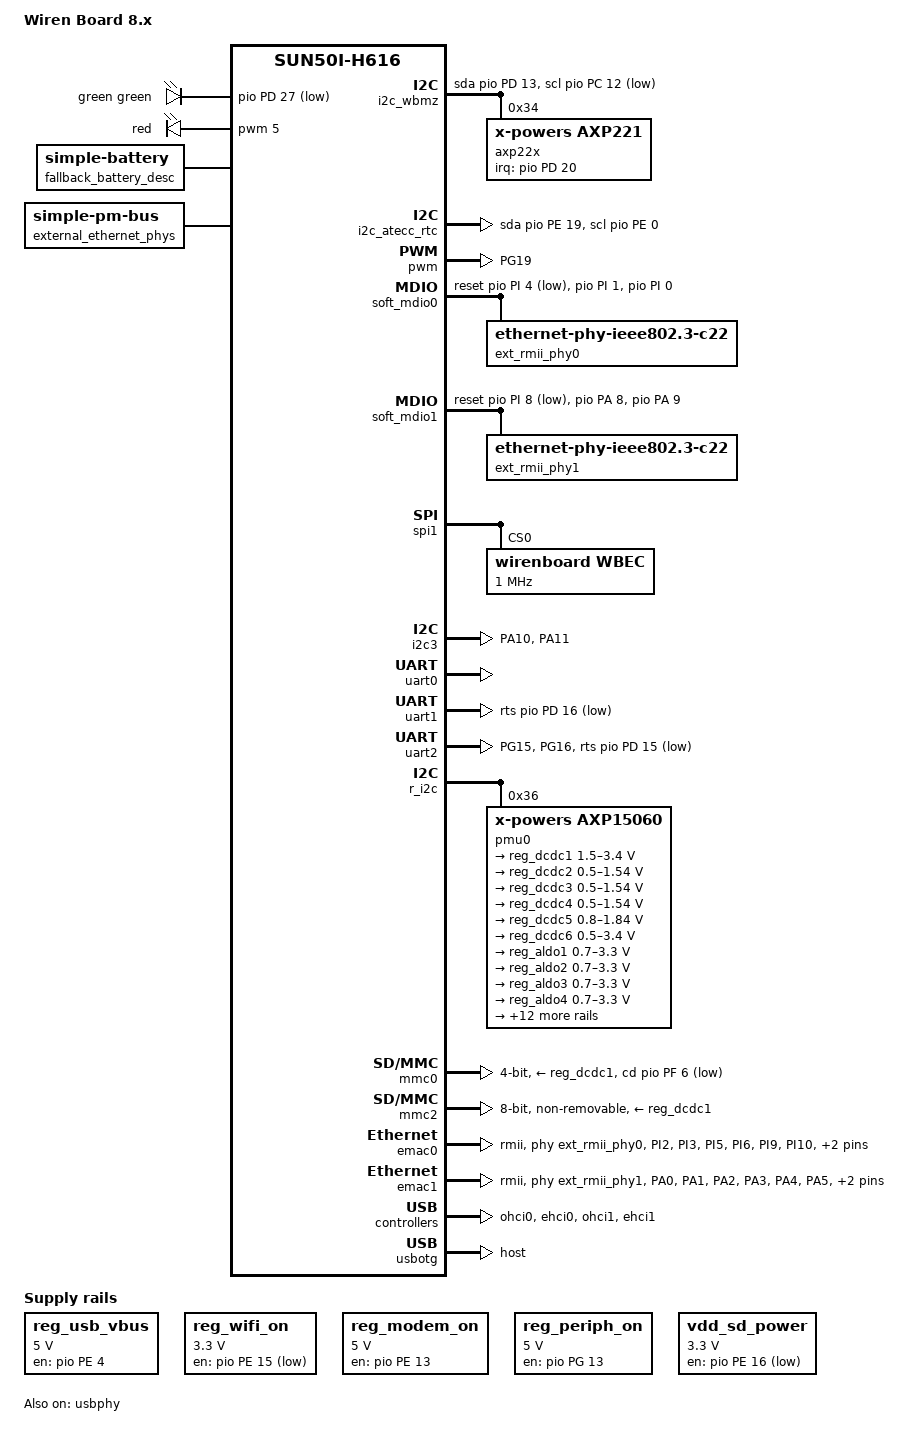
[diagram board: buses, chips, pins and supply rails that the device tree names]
// SPDX-License-Identifier: (GPL-2.0+ OR MIT)
// vim: autoindent noexpandtab tabstop=4 shiftwidth=4
/*
 * Copyright (C) 2023 Wiren Board
 */

/dts-v1/;

#include "sun50i-h616.dtsi"

#include <dt-bindings/gpio/gpio.h>
#include <dt-bindings/interrupt-controller/arm-gic.h>
#include <dt-bindings/leds/common.h>

#define PA 0
#define PB 1
#define PC 2
#define PD 3
#define PE 4
#define PF 5
#define PG 6
#define PH 7
#define PI 8

/ {
	model = "Wiren Board 8.x";
	compatible = "wirenboard,wirenboard-8xx", "allwinner,sun50i-h616";

	aliases {
		serial0 = &uart0;
		serial1 = &uart1;
		serial2 = &uart2;
		serial4 = &uart4;
		serial5 = &uart5;
		mmc0 = &mmc2;
		mmc1 = &mmc0;
		mdio-gpio0 = &soft_mdio0;
		mdio-gpio1 = &soft_mdio1;
		ethernet0 = &emac0;
		ethernet1 = &emac1;
	};

	wirenboard {
		adc-type = <3>;
		pwm-buzzer = <1>;

		analog-inputs {
		};

		gpios {
			A1_OUT {
				io-gpios = <&pio PE 5 GPIO_ACTIVE_HIGH>;
				gpio-xlate-type = "bank_pin";
				gpio-pins-per-bank = <32>;
				output-low;
				sort-order = <0>;
			};

			A2_OUT {
				io-gpios = <&pio PD 23 GPIO_ACTIVE_HIGH>;
				gpio-xlate-type = "bank_pin";
				gpio-pins-per-bank = <32>;
				output-low;
				sort-order = <1>;
			};

			A3_OUT {
				io-gpios = <&pio PG 9 GPIO_ACTIVE_HIGH>;
				gpio-xlate-type = "bank_pin";
				gpio-pins-per-bank = <32>;
				output-low;
				sort-order = <2>;
			};

			A4_OUT {
				io-gpios = <&pio PG 11 GPIO_ACTIVE_HIGH>;
				gpio-xlate-type = "bank_pin";
				gpio-pins-per-bank = <32>;
				output-low;
				sort-order = <3>;
			};

			A1_IN {
				io-gpios = <&pio PH 9 GPIO_ACTIVE_LOW>;
				gpio-xlate-type = "bank_pin";
				gpio-pins-per-bank = <32>;
				input;
				sort-order = <4>;
			};

			A2_IN {
				io-gpios = <&pio PH 4 GPIO_ACTIVE_LOW>;
				gpio-xlate-type = "bank_pin";
				gpio-pins-per-bank = <32>;
				input;
				sort-order = <5>;
			};

			A3_IN {
				io-gpios = <&pio PD 25 GPIO_ACTIVE_LOW>;
				gpio-xlate-type = "bank_pin";
				gpio-pins-per-bank = <32>;
				input;
				sort-order = <6>;
			};

			A4_IN {
				io-gpios = <&pio PD 20 GPIO_ACTIVE_LOW>;
				gpio-xlate-type = "bank_pin";
				gpio-pins-per-bank = <32>;
				input;
				sort-order = <7>;
			};

			5V_OUT {
				io-gpios = <&pio PE 9 GPIO_ACTIVE_HIGH>;
				gpio-xlate-type = "bank_pin";
				gpio-pins-per-bank = <32>;
				output-high;
				sort-order = <8>;
			};

			V_OUT {
				io-gpios = <&wbec_gpio 4 GPIO_ACTIVE_HIGH>;
				output-high;
				sort-order = <9>;
			};
		};

		hwmon-nodes {
			cputemp {
				title = "CPU Temperature";
				hwmon-node-name = "cpu0_thermal";
				hwmon-channel = "temp1";
			};

			pcbtemp {
				title = "Board Temperature";
				hwmon-node-name = "iio-hwmon-pcb-temp";
				hwmon-channel = "temp1";
			};
		};
	};

	leds-gpio {
		compatible = "gpio-leds";

		green {
			label = "green";
			color = <LED_COLOR_ID_GREEN>;
			gpios = <&pio PD 27 GPIO_ACTIVE_LOW>;
			default-state = "on";
			active-low;
			linux,default-trigger = "default-off";
		};
	};

	leds-pwm {
		compatible = "pwm-leds";

		pinctrl-names = "default";
		pinctrl-0 = <&pwm_ch5_pa_pins>;

		red {
			label = "red";
			pwms = <&pwm 5 100000 0>;

			linux,default-trigger = "timer";
		};
	};

	chosen {
		stdout-path = "serial0:115200n8";
	};

	regulators {
		compatible = "simple-bus";
		#address-cells = <1>;
		#size-cells = <0>;

		reg_usb_vbus: regulator@1 {
			compatible = "regulator-fixed";
			gpio = <&pio PE 4 GPIO_ACTIVE_HIGH>;
			regulator-name = "usb-vbus";
			regulator-min-microvolt = <5000000>;
			regulator-max-microvolt = <5000000>;
			enable-active-high;
		};

		reg_wifi_on: regulator@2 {
			compatible = "regulator-fixed";
			gpio = <&pio PE 15 GPIO_ACTIVE_LOW>;
			regulator-name = "wifi-on";
			regulator-min-microvolt = <3300000>;
			regulator-max-microvolt = <3300000>;
		};

		reg_modem_on: regulator@3 {
			compatible = "regulator-fixed";
			gpio = <&pio PE 13 GPIO_ACTIVE_HIGH>;
			regulator-name = "modem-on";
			regulator-min-microvolt = <5000000>;
			regulator-max-microvolt = <5000000>;
			enable-active-high;
		};

		reg_periph_on: regulator@4 {
			compatible = "regulator-fixed";
			gpio = <&pio PG 13 GPIO_ACTIVE_HIGH>;
			regulator-name = "periph-on";
			regulator-min-microvolt = <5000000>;
			regulator-max-microvolt = <5000000>;
			enable-active-high;
			regulator-always-on;  // FIXME: ehci driver does not enable it on boot
		};

		vdd_sd_power: regulator@5 {
			compatible = "regulator-fixed";
			gpio = <&pio PE 16 GPIO_ACTIVE_LOW>;
			regulator-name = "vdd-sd-power";
			regulator-min-microvolt = <3300000>;
			regulator-max-microvolt = <3300000>;
			regulator-always-on;
		};
	};

	/*
	Because PMIC battery driver must be enabled at boot time,
	we have to give it  some battery description to
	override default (or preserved from last boot) register
	values when it comes to charging voltage and current
	*/
	fallback_battery_desc: fallback-battery-desc {
		compatible = "simple-battery";
		constant-charge-current-max-microamp = <600000>;
		voltage-min-design-microvolt = <2900000>;
		constant-charge-voltage-max-microvolt = <4100000>;
		charge-full-design-microamp-hours = <2600000>;
		status = "okay";
	};

	i2c_wbmz: i2c_wbmz {
		compatible = "i2c-gpio";

		sda-gpios = <&pio PD 13 GPIO_ACTIVE_HIGH>;
		scl-gpios = <&pio PC 12 GPIO_ACTIVE_LOW>;  // connected via transistor thus inverting the signal
		i2c-gpio,delay-us = <32>;  // ~30 kHz
		i2c-gpio,scl-output-only;
		i2c-gpio,scl-has-no-pullup;

		#address-cells = <1>;
		#size-cells = <0>;
		status = "okay";

		axp22x: pmic@34 {
			compatible = "x-powers,axp221";
			reg = <0x34>;
			interrupt-parent = <&pio>;
			interrupts = <PD 20 IRQ_TYPE_LEVEL_LOW>;  // temporary use WBIO pin here

			interrupt-controller;
			#interrupt-cells = <1>;

			ac_power_supply: ac-power-supply {
				compatible = "x-powers,axp221-ac-power-supply";
				status = "okay";
			};

			axp_adc: adc {
				compatible = "x-powers,axp221-adc";
				#io-channel-cells = <1>;
			};

			battery_power_supply: battery-power-supply {
				compatible = "x-powers,axp221-battery-power-supply";
				status = "okay";
				monitored-battery = <&fallback_battery_desc>;

				// it's ~40C conservative high temperature limit.
				// to be overrided by battery overlay
				x-powers,charge-high-temp-microvolt = <499200>;
			};

			usb_power_supply: usb_power_supply {
				compatible = "x-powers,axp221-usb-power-supply";
				status = "okay";
			};
		};
	};

	i2c_atecc_rtc: i2c_atecc_rtc {
		compatible = "i2c-gpio";

		sda-gpios = <&pio PE 19 GPIO_ACTIVE_HIGH>;
		scl-gpios = <&pio PE 0 GPIO_ACTIVE_HIGH>;
		i2c-gpio,delay-us = <2>;  // ~100 kHz

		#address-cells = <1>;
		#size-cells = <0>;
		status = "okay";
	};

	soc {
		dma: dma-controller@3002000 {
			compatible = "allwinner,sun50i-h6-dma";
			reg = <0x3002000 0x1000>;
			interrupts = <GIC_SPI 42 IRQ_TYPE_LEVEL_HIGH>;
			clocks = <&ccu CLK_BUS_DMA>, <&ccu CLK_MBUS_DMA>;
			clock-names = "ahb", "mbus";
			dma-channels = <16>;
			dma-requests = <32>;
			resets = <&ccu RST_BUS_DMA>;
			#dma-cells = <1>;
		};

		pwm: pwm@300A000 {
			pinctrl-0 = <&pwm_ch1_pg_pins>;
			pinctrl-names = "default";

			compatible = "allwinner,sun50i-t507-pwm";
			reg = <0x300A000 0x400>;
			clocks = <&ccu CLK_BUS_PWM>, <&ccu CLK_APB1>, <&osc24M>;
			clock-names = "bus", "apb0", "hosc";
			resets = <&ccu RST_BUS_PWM>;
			#pwm-cells = <0x3>;
			status = "okay";
		};
	};
};

&spi1 {
	pinctrl-names = "default";
	pinctrl-0 = <&spi1_pins>, <&spi1_cs0_pin>;
	status = "okay";

	wbec: wbec@0 {
		spi-max-frequency = <1000000>;

		compatible = "wirenboard,wbec";
		reg = <0>;
		status = "okay";
		#address-cells = <1>;
		#size-cells = <0>;

		wbec-watchdog@0 {
			compatible = "wirenboard,wbec-watchdog";
			reg = <0>;
		};

		wbec-pwrkey@0 {
			compatible = "wirenboard,wbec-pwrkey";
			reg = <0>;
		};

		rtc_onboard: wbec-rtc@0 {
			compatible = "wirenboard,wbec-rtc";
			reg = <0>;

			wakeup-source;
		};

		wbec_gpio: wbec-gpio@0 {
			compatible = "wirenboard,wbec-gpio";
			reg = <0>;

			gpio-controller;
			#gpio-cells = <2>;
			ngpios = <5>;
			gpio-line-names = "EC A1", "EC A2", "EC A3", "EC A4", "V_OUT ON";
		};

		wbec_adc: wbec-adc@0 {
			compatible = "wirenboard,wbec-adc";
			reg = <0>;
			#io-channel-cells = <1>;
		};

		vin: wbec-power@0 {
			compatible = "wirenboard,wbec-power";
			reg = <0>;
		};
	};
};

/* WBIO I2C */
&i2c3 {
	pinctrl-names = "default";
	pinctrl-0 = <&i2c3_pa_pins>;

	status = "okay";
};

&pio {
    gpio-line-names = 
	/* PA */
	"", "", "", "",  /* 0-3 */
	"", "", "", "",  /* 4-7 */
	"", "", "", "",  /* 8-11 */
	"", "", "", "",  /* 12-15 */
	"", "", "", "",  /* 16-19 */
	"", "", "", "",  /* 20-23 */
	"", "", "", "",  /* 24-27 */
	"", "", "", "",  /* 28-31 */
	/* PB */
	"", "", "", "",  /* 0-3 */
	"", "", "", "",  /* 4-7 */
	"", "", "", "",  /* 8-11 */
	"", "", "", "",  /* 12-15 */
	"", "", "", "",  /* 16-19 */
	"", "", "", "",  /* 20-23 */
	"", "", "", "",  /* 24-27 */
	"", "", "", "",  /* 28-31 */
	/* PC */
	"", "", "", "",  /* 0-3 */
	"", "", "", "",  /* 4-7 */
	"", "", "", "",  /* 8-11 */
	"BAT SCK", "", "", "",  /* 12-15 */
	"", "", "", "",  /* 16-19 */
	"", "", "", "",  /* 20-23 */
	"", "", "", "",  /* 24-27 */
	"", "", "", "",  /* 28-31 */
	/* PD */
	"", "", "", "",  /* 0-3 */
	"", "", "", "",  /* 4-7 */
	"", "", "MOD3 RTS", "MOD1 RX",  /* 8-11 */
	"", "BAT SDA", "MOD4 RX", "RS-485-1 RTS",  /* 12-15 */
	"RS-485-2 RTS", "RS-485-1 FAILSAFE", "RS-485-2 FAILSAFE", "RS-485-1 TERMINATION",  /* 16-19 */
	"A4 IN", "", "", "A2 OUT",  /* 20-23 */
	"", "A3 IN", "MOD4 TX", "",  /* 24-27 */
	"", "", "", "",  /* 28-31 */
	/* PE */
	"RTC SCK", "", "SIM_SELECT", "",  /* 0-3 */
	"", "A1 OUT", "MOD4 RTS", "EC INT",  /* 4-7 */
	"", "5V_OUT ON", "MOD1 TX", "W2",  /* 8-11 */
	"GSM STATUS", "GSM ON", "", "",  /* 12-15 */
	"", "", "EC RESET", "RTC SDA",  /* 16-19 */
	"WBIO INT", "W2 UP", "EC SWCLK/BOOT0", "",  /* 20-23 */
	"", "", "", "",  /* 24-27 */
	"", "", "", "",  /* 28-31 */
	/* PF */
	"", "", "", "",  /* 0-3 */
	"", "", "", "",  /* 4-7 */
	"", "", "", "",  /* 8-11 */
	"", "", "", "",  /* 12-15 */
	"", "", "", "",  /* 16-19 */
	"", "", "", "",  /* 20-23 */
	"", "", "", "",  /* 24-27 */
	"", "", "", "",  /* 28-31 */
	/* PG */
	"", "", "", "",  /* 0-3 */
	"", "", "", "",  /* 4-7 */
	"W1 UP", "A3 OUT", "", "A4 OUT",  /* 8-11 */
	"RS-485-2 TERMINATION", "", "", "",  /* 12-15 */
	"", "MOD1 RTS", "", "BUZZER",  /* 16-19 */
	"", "", "", "",  /* 20-23 */
	"", "", "", "",  /* 24-27 */
	"", "", "", "",  /* 28-31 */
	/* PH */
	"", "", "", "",  /* 0-3 */
	"A2 IN", "", "", "",  /* 4-7 */
	"", "A1 IN", "PUSHBUTTON", "",  /* 8-11 */
	"", "", "", "",  /* 12-15 */
	"", "", "", "",  /* 16-19 */
	"", "", "", "",  /* 20-23 */
	"", "", "", "",  /* 24-27 */
	"", "", "", "",  /* 28-31 */
	/* PI */
	"", "", "", "",  /* 0-3 */
	"", "", "", "",  /* 4-7 */
	"", "", "", "",  /* 8-11 */
	"", "", "", "MOD2 RTS",  /* 12-15 */
	"", "", "", "",  /* 16-19 */
	"", "", "", "",  /* 20-23 */
	"", "", "", "",  /* 24-27 */
	"", "", "", "";  /* 28-31 */

	pwm_ch5_pa_pins: pwm_ch5_pa_pins {
		pins = "PA12";
		function = "pwm5";
		drive-strength = <40>;
	};

	pwm_ch1_pg_pins: pwm_ch1_pg_pins {
		pins = "PG19";
		function = "pwm1";
		drive-strength = <40>;
	};

	uart2_pg_pins: uart2_pg_pins {
		pins = "PG15", "PG16";
		function = "uart2";
	};

	uart4_pi_pins: uart4_pi_pins {
		pins = "PI13", "PI14";
		function = "uart4";
	};

	uart5_ph_pins: uart5_ph_pins {
		pins = "PH2", "PH3";
		function = "uart5";
	};
};

/* Debug UART */
&uart0 {
	pinctrl-names = "default";
	pinctrl-0 = <&uart0_ph_pins>;
	status = "okay";
};

/* UARTs */
&uart1 { /* RS485-2 */
	pinctrl-names = "default";
	pinctrl-0 = <&uart1_pins>;

	linux,rs485-enabled-at-boot-time;
	rts-gpios = <&pio PD 16 GPIO_ACTIVE_LOW>;
	
	status = "okay";
};

&uart2 { /* RS485-1 */
	pinctrl-names = "default";
	pinctrl-0 = <&uart2_pg_pins>;

	linux,rs485-enabled-at-boot-time;
	rts-gpios = <&pio PD 15 GPIO_ACTIVE_LOW>;

	status = "okay";
};

/* UART3 pins are used for Ethernet */

/* MOD1 is a software UART on PE10 (TX), PD11 (RX) */

&uart4 { /* MOD2 */
	pinctrl-names = "default";
	pinctrl-0 = <&uart4_pi_pins>;

	cts-override;
	status = "disabled";
};

&uart5 { /* MOD3 */
	pinctrl-names = "default";
	pinctrl-0 = <&uart5_ph_pins>;

	cts-override;
	status = "disabled";
};

/* MOD4 is a software UART on PD26 (TX), PD14 (RX) */

&r_i2c {
	status = "okay";

	pmu0: pmu@36{
		compatible = "x-powers,axp15060";
		reg = <0x36>;
		interrupt-controller;
		#interrupt-cells = <1>;

		wakeup-source;
		overtemp_shutdown = <1>;
		overtemp_value = <145>;

		regulator0: regulators{
			reg_dcdc1: dcdc1 {
				regulator-name = "dcdc1";
				regulator-min-microvolt = <1500000>;
				regulator-max-microvolt = <3400000>;
				regulator-step-delay-us = <25>;
				regulator-final-delay-us = <50>;
				regulator-always-on;
				under_voltage_shutdown = <1>;
			};

			reg_dcdc2: dcdc2 {
				regulator-name = "dcdc2";
				regulator-min-microvolt = <500000>;
				regulator-max-microvolt = <1540000>;
				regulator-step-delay-us = <25>;
				regulator-final-delay-us = <50>;
				regulator-ramp-delay = <6001>; /* FIXME */
				regulator-always-on;
				under_voltage_shutdown = <1>;
			};

			reg_dcdc3: dcdc3 {
				regulator-name = "dcdc3";
				regulator-min-microvolt = <500000>;
				regulator-max-microvolt = <1540000>;
				regulator-step-delay-us = <25>;
				regulator-final-delay-us = <50>;
				regulator-always-on;
				under_voltage_shutdown = <1>;
			};

			reg_dcdc4: dcdc4 {
				regulator-name = "dcdc4";
				regulator-min-microvolt = <500000>;
				regulator-max-microvolt = <1540000>;
				regulator-step-delay-us = <25>;
				regulator-final-delay-us = <50>;
				regulator-enable-ramp-delay = <1000>;
				under_voltage_shutdown = <1>;
			};

			reg_dcdc5: dcdc5 {
				regulator-name = "dcdc5";
				regulator-min-microvolt = <800000>;
				regulator-max-microvolt = <1840000>;
				regulator-step-delay-us = <25>;
				regulator-final-delay-us = <50>;
				regulator-always-on;
				under_voltage_shutdown = <1>;
			};

			reg_dcdc6: dcdc6 {
				regulator-name = "dcdc6";
				regulator-min-microvolt = <500000>;
				regulator-max-microvolt = <3400000>;
				regulator-step-delay-us = <25>;
				regulator-final-delay-us = <50>;
				under_voltage_shutdown = <1>;
			};

			reg_aldo1: aldo1 {
				regulator-name = "aldo1";
				regulator-min-microvolt = <700000>;
				regulator-max-microvolt = <3300000>;
				regulator-step-delay-us = <25>;
				regulator-final-delay-us = <50>;
				regulator-always-on;
			};

			reg_aldo2: aldo2 {
				regulator-name = "aldo2";
				regulator-min-microvolt = <700000>;
				regulator-max-microvolt = <3300000>;
				regulator-step-delay-us = <25>;
				regulator-final-delay-us = <50>;
				regulator-always-on;
			};

			reg_aldo3: aldo3 {
				regulator-name = "aldo3";
				regulator-min-microvolt = <700000>;
				regulator-max-microvolt = <3300000>;
				regulator-step-delay-us = <25>;
				regulator-final-delay-us = <50>;
			};

			reg_aldo4: aldo4 {
				regulator-name = "aldo4";
				regulator-min-microvolt = <700000>;
				regulator-max-microvolt = <3300000>;
				regulator-step-delay-us = <25>;
				regulator-final-delay-us = <50>;
				regulator-always-on;
			};

			reg_aldo5: aldo5 {
				regulator-name = "aldo5";
				regulator-min-microvolt = <700000>;
				regulator-max-microvolt = <3300000>;
				regulator-step-delay-us = <25>;
				regulator-final-delay-us = <50>;
			};

			reg_bldo1: bldo1 {
				regulator-name = "bldo1";
				regulator-min-microvolt = <700000>;
				regulator-max-microvolt = <3300000>;
				regulator-step-delay-us = <25>;
				regulator-final-delay-us = <50>;
				regulator-always-on;  // FIXME should be enabled by gpiod
			};

			reg_bldo2: bldo2 {
				regulator-name = "bldo2";
				regulator-min-microvolt = <700000>;
				regulator-max-microvolt = <3300000>;
				regulator-step-delay-us = <25>;
				regulator-final-delay-us = <50>;
			};

			reg_bldo3: bldo3 {
				regulator-name = "bldo3";
				regulator-min-microvolt = <700000>;
				regulator-max-microvolt = <3300000>;
				regulator-step-delay-us = <25>;
				regulator-final-delay-us = <50>;
			};

			reg_bldo4: bldo4 {
				regulator-name = "bldo4";
				regulator-min-microvolt = <700000>;
				regulator-max-microvolt = <1800000>;
				regulator-step-delay-us = <25>;
				regulator-final-delay-us = <50>;
				regulator-always-on;
			};

			reg_bldo5: bldo5 {
				regulator-name = "bldo5";
				regulator-min-microvolt = <700000>;
				regulator-max-microvolt = <3300000>;
				regulator-step-delay-us = <25>;
				regulator-final-delay-us = <50>;
			};

			reg_cldo1: cldo1 {
				regulator-name = "cldo1";
				regulator-min-microvolt = <700000>;
				regulator-max-microvolt = <3300000>;
				regulator-step-delay-us = <25>;
				regulator-final-delay-us = <50>;
				regulator-always-on;
			};

			reg_cldo2: cldo2 {
				regulator-name = "cldo2";
				regulator-min-microvolt = <700000>;
				regulator-max-microvolt = <1800000>;
				regulator-step-delay-us = <25>;
				regulator-final-delay-us = <50>;
				regulator-always-on;
			};

			reg_cldo3: cldo3 {
				regulator-name = "cldo3";
				regulator-min-microvolt = <700000>;
				regulator-max-microvolt = <3300000>;
				regulator-step-delay-us = <25>;
				regulator-final-delay-us = <50>;
			};

			reg_cldo4: cldo4 {
				regulator-name = "cldo4";
				regulator-min-microvolt = <700000>;
				regulator-max-microvolt = <4200000>;
				regulator-step-delay-us = <25>;
				regulator-final-delay-us = <50>;
			};

			reg_cpusldo: cpusldo {
				regulator-name = "cpusldo";
				regulator-min-microvolt = <700000>;
				regulator-max-microvolt = <1400000>;
				regulator-step-delay-us = <25>;
				regulator-final-delay-us = <50>;
			};

			reg_sw: sw {
				regulator-name = "sw";
				regulator-always-on;
			};
		};
	};
};

&cpu0 {
	cpu-supply = <&reg_dcdc2>;
};

&pio {
	vcc-pa-supply = <&reg_dcdc1>;
	vcc-pc-supply = <&reg_aldo1>;
	vcc-pd-supply = <&reg_dcdc1>, <&reg_bldo1>;
	vcc-pe-supply = <&reg_dcdc1>;
	vcc-pg-supply = <&reg_dcdc1>;
	vcc-pi-supply = <&reg_dcdc1>;
};

&mmc0 {
	bus-width = <4>;
	cd-gpios = <&pio PF 6 GPIO_ACTIVE_LOW>;
	status = "okay";
	vmmc-supply = <&reg_dcdc1>, <&vdd_sd_power>;
};

&mmc2 {
	vmmc-supply = <&reg_dcdc1>;
	vqmmc-supply = <&reg_aldo1>;
	bus-width = <8>;
	non-removable;
	mmc-ddr-1_8v;
	mmc-hs200-1_8v;
	mmc-hs400-1_8v;
	no-sdio;
	no-sd;
	cap-mmc-highspeed;
	status = "okay";
};

&reg_dcdc5 {
	regulator-name = "vcc-dram";
	regulator-always-on;
};

&pio {
	ext_emac0_rmii_pins: emac0-rmii-pins {
		pins = "PI2", "PI3", "PI5", "PI6",
			"PI9", "PI10", "PI11", "PI12";
		function = "emac0";
		drive-strength = <40>;
	};

	ext_emac1_rmii_pins: emac1-rmii-pins {
		pins = "PA0", "PA1", "PA2", "PA3", "PA4",
			"PA5", "PA6", "PA7";
		function = "emac1";
		drive-strength = <40>;
	};

	ephy_25m_out_pins: ephy-25m-out-pins {
		pins = "PI16";
		function = "emac0";
		drive-strength = <40>;
	};

	i2c3_pa_pins: i2c3-pa-pins {
		pins = "PA10", "PA11";
		function = "i2c3";
		drive-strength = <40>;
	};
};

/ {
	external_ethernet_phys: external-ethernet-phys {
		compatible = "simple-pm-bus";
		#address-cells = <1>;
		#size-cells = <0>;

		clocks = <&ccu CLK_EMAC_25M>;
		clock-names = "emac-25m";

		pinctrl-names = "default";
		pinctrl-0 = <&ephy_25m_out_pins>;

		soft_mdio0: soft-mdio0 {
			compatible = "virtual,mdio-gpio";
			#address-cells = <1>;
			#size-cells = <0>;

			gpios = <&pio PI 1 GPIO_ACTIVE_HIGH>,  /* MDC */
					<&pio PI 0 GPIO_ACTIVE_HIGH>;  /* MDIO */

			reset-gpios = <&pio PI 4 GPIO_ACTIVE_LOW>;
			reset-delay-us = <50000>;

			ext_rmii_phy0: ethernet-phy {
				compatible = "ethernet-phy-ieee802.3-c22";
			};
		};

		soft_mdio1: soft-mdio1 {
			compatible = "virtual,mdio-gpio";
			#address-cells = <1>;
			#size-cells = <0>;

			gpios = <&pio PA 8 GPIO_ACTIVE_HIGH>,  /* MDC */
					<&pio PA 9 GPIO_ACTIVE_HIGH>;  /* MDIO */

			reset-gpios = <&pio PI 8 GPIO_ACTIVE_LOW>;
			reset-delay-us = <50000>;

			ext_rmii_phy1: ethernet-phy {
				compatible = "ethernet-phy-ieee802.3-c22";
			};
		};
	};
};

&emac0 {
	pinctrl-names = "default";
	pinctrl-0 = <&ext_emac0_rmii_pins>;
	phy-mode = "rmii";
	phy-handle = <&ext_rmii_phy0>;
	allwinner,rx-delay-ps = <3100>;
	allwinner,tx-delay-ps = <700>;
	allwinner,ignore-emac-reset-failure;
	status = "okay";
};

&emac1 {
	pinctrl-names = "default";
	pinctrl-0 = <&ext_emac1_rmii_pins>;
	phy-mode = "rmii";
	phy-handle = <&ext_rmii_phy1>;
	allwinner,rx-delay-ps = <3100>;
	allwinner,tx-delay-ps = <700>;
	allwinner,ignore-emac-reset-failure;
	status = "okay";
};

// USB

&usbphy {
	usb0_vbus-supply = <&reg_usb_vbus>;
	usb1_vbus-supply = <&reg_wifi_on>;
	usb2_vbus-supply = <&reg_modem_on>;

	usb0_id_det-gpios = <&pio PG 18 (GPIO_ACTIVE_HIGH | GPIO_PULL_DOWN)>;
	wirenboard,mux-on-id-pin;

	dr_mode = "host";

	status = "okay";
};

&ohci0 {
	status = "okay";
};

&ehci0 {
	status = "okay";
};

&usbotg {
	dr_mode = "host";
	status = "okay";
};

&ohci1 {
	status = "okay";
};

&ehci1 {
	status = "okay";
};
